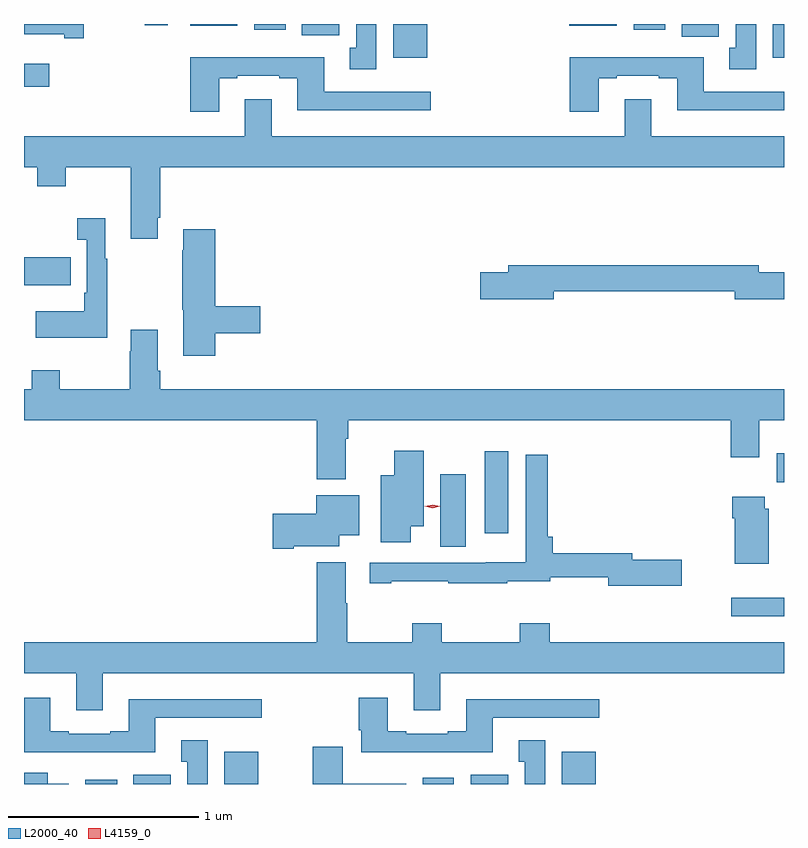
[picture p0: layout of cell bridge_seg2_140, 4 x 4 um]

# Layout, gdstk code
import gdstk
lib = gdstk.Library(unit=1e-6, precision=1e-09)
def R(c, l, rs):  # rectangles x0, y0, x1, y1
    for r in rs: c.add(gdstk.rectangle(r[:2], r[2:], *l))
def P(c, l, *ps):  # polygons
    for p in ps: c.add(gdstk.Polygon(p, *l))
L2000_40 = (2000, 40)
L4159_0 = (4159, 0)

bridge_seg2_140 = lib.new_cell('bridge_seg2_140')
R(bridge_seg2_140, L2000_40, [(612.365,599.102,612.532,599.125), (612.617,599.102,612.814,599.152), (613.097,599.102,613.276,599.272), (614.141,599.102,614.305,599.134), (614.393,599.102,614.59,599.152), (614.873,599.102,615.052,599.272), (615.765,599.984,616.042,600.081), (614.234,600.352,614.368,600.733), (614.468,600.423,614.59,600.853), (616.004,600.69,616.042,600.844), (612.042,601.727,612.287,601.875), (612.042,602.771,612.175,602.893), (613.985,602.924,614.164,603.102), (615.983,602.924,616.042,603.102), (615.503,603.036,615.699,603.102), (613.505,603.044,613.702,603.102), (613.253,603.072,613.42,603.102), (615.251,603.072,615.418,603.102), (612.918,603.092,613.165,603.102), (614.912,603.092,615.163,603.102), (612.678,603.095,612.798,603.102)])
P(bridge_seg2_140, L2000_40, [(613.897,603.102),(613.79,603.102),(613.79,602.978),(613.757,602.978),(613.757,602.865),(613.897,602.865)],
  [(615.895,603.102),(615.788,603.102),(615.788,602.977),(615.755,602.977),(615.755,602.865),(615.895,602.865)],
  [(612.357,603.102),(612.042,603.102),(612.042,603.047),(612.254,603.047),(612.254,603.028),(612.357,603.028)],
  [(615.067,602.817),(615.163,602.817),(615.163,602.829),(615.383,602.829),(615.383,602.817),(615.479,602.817),(615.479,602.648),(616.042,602.648),(616.042,602.745),(615.619,602.745),(615.619,602.926),(614.915,602.926),(614.915,602.64),(615.067,602.64)],
  [(613.069,602.817),(613.165,602.817),(613.165,602.829),(613.385,602.829),(613.385,602.817),(613.481,602.817),(613.481,602.648),(614.182,602.648),(614.182,602.745),(613.621,602.745),(613.621,602.926),(612.917,602.926),(612.917,602.64),(613.069,602.64)],
  [(612.745,602.083),(612.758,602.083),(612.758,602.348),(616.042,602.348),(616.042,602.512),(615.343,602.512),(615.343,602.707),(615.203,602.707),(615.203,602.512),(613.345,602.512),(613.345,602.707),(613.205,602.707),(613.205,602.512),(612.042,602.512),(612.042,602.348),(612.113,602.348),(612.113,602.249),(612.261,602.249),(612.261,602.348),(612.605,602.348),(612.605,601.971),(612.745,601.971)],
  [(612.481,601.867),(612.469,601.867),(612.469,602.08),(612.321,602.08),(612.321,601.967),(612.372,601.967),(612.372,601.687),(612.36,601.687),(612.36,601.591),(612.103,601.591),(612.103,601.451),(612.481,601.451)],
  [(613.049,601.474),(613.285,601.474),(613.285,601.616),(613.049,601.616),(613.049,602.023),(612.881,602.023),(612.881,601.91),(612.874,601.91),(612.874,601.599),(612.881,601.599),(612.881,601.356),(613.049,601.356)],
  [(614.83,601.696),(615.782,601.696),(615.782,601.654),(616.042,601.654),(616.042,601.796),(615.91,601.796),(615.91,601.832),(614.591,601.832),(614.591,601.796),(614.442,601.796),(614.442,601.654),(614.83,601.654)],
  [(612.745,601.276),(612.745,601.492),(612.605,601.492),(612.605,601.379),(612.598,601.379),(612.598,601.18),(612.231,601.18),(612.231,601.279),(612.084,601.279),(612.084,601.18),(612.042,601.18),(612.042,601.016),(613.583,601.016),(613.583,600.707),(613.735,600.707),(613.735,600.92),(613.748,600.92),(613.748,601.016),(615.761,601.016),(615.761,600.822),(615.913,600.822),(615.913,601.016),(616.042,601.016),(616.042,601.18),(612.758,601.18),(612.758,601.276)],
  [(614.077,600.458),(614.146,600.458),(614.146,600.856),(613.991,600.856),(613.991,600.727),(613.919,600.727),(613.919,600.375),(614.077,600.375)],
  [(615.505,600.281),(615.244,600.281),(615.244,600.317),(614.825,600.317),(614.825,600.403),(614.798,600.403),(614.798,600.835),(614.682,600.835),(614.682,600.268),(614.472,600.268),(614.472,600.267),(613.863,600.267),(613.863,600.159),(613.975,600.159),(613.975,600.169),(614.275,600.169),(614.275,600.159),(614.585,600.159),(614.585,600.169),(614.812,600.169),(614.812,600.189),(615.116,600.189),(615.116,600.146),(615.505,600.146)],
  [(613.462,600.353),(613.702,600.353),(613.702,600.41),(613.807,600.41),(613.807,600.622),(613.58,600.622),(613.58,600.524),(613.35,600.524),(613.35,600.341),(613.462,600.341)],
  [(615.961,600.552),(615.94,600.552),(615.94,600.613),(615.77,600.613),(615.77,600.5),(615.782,600.5),(615.782,600.26),(615.961,600.26)],
  [(612.457,599.684),(614.093,599.684),(614.093,599.49),(614.233,599.49),(614.233,599.684),(616.042,599.684),(616.042,599.848),(614.81,599.848),(614.81,599.947),(614.65,599.947),(614.65,599.848),(614.241,599.848),(614.241,599.947),(614.086,599.947),(614.086,599.848),(613.743,599.848),(613.743,600.053),(613.735,600.053),(613.735,600.268),(613.583,600.268),(613.583,599.848),(612.042,599.848),(612.042,599.684),(612.317,599.684),(612.317,599.49),(612.457,599.49)],
  [(612.733,599.451),(613.294,599.451),(613.294,599.548),(612.593,599.548),(612.593,599.38),(612.497,599.38),(612.497,599.367),(612.277,599.367),(612.277,599.38),(612.181,599.38),(612.181,599.557),(612.042,599.557),(612.042,599.27),(612.733,599.27)],
  [(614.509,599.451),(615.07,599.451),(615.07,599.548),(614.369,599.548),(614.369,599.38),(614.273,599.38),(614.273,599.367),(614.053,599.367),(614.053,599.38),(613.957,599.38),(613.957,599.557),(613.805,599.557),(613.805,599.386),(613.817,599.386),(613.817,599.27),(614.509,599.27)],
  [(614.785,599.332),(614.645,599.332),(614.645,599.219),(614.678,599.219),(614.678,599.102),(614.785,599.102)],
  [(613.009,599.332),(612.869,599.332),(612.869,599.219),(612.902,599.219),(612.902,599.102),(613.009,599.102)],
  [(614.053,599.104),(613.72,599.104),(613.72,599.299),(613.562,599.299),(613.562,599.102),(614.053,599.102)],
  [(612.277,599.104),(612.166,599.104),(612.166,599.161),(612.042,599.161),(612.042,599.102),(612.277,599.102)])
P(bridge_seg2_140, L4159_0, [(614.192,600.553),(614.152,600.563),(614.152,600.563),(614.152,600.564),(614.192,600.573),(614.232,600.563),(614.232,600.563),(614.232,600.563)])

lib.write_gds('bridge_seg2_140.gds')
